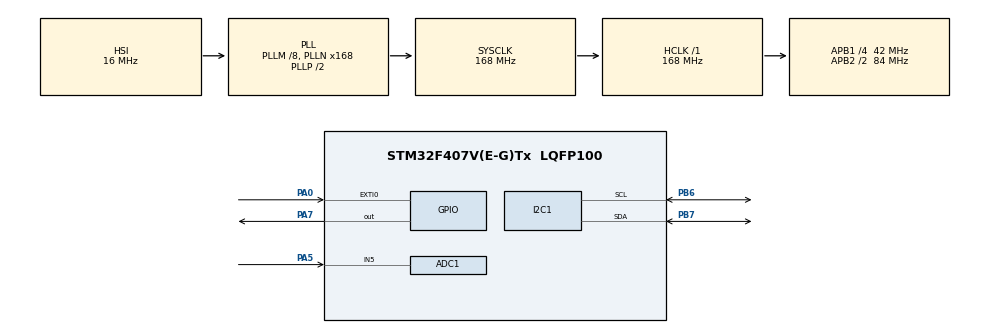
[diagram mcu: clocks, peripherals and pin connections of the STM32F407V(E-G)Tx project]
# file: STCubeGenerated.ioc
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ADC1.Channel-0\#ChannelRegularConversion=ADC_CHANNEL_5
ADC1.DMAContinuousRequests=ENABLE
ADC1.ExternalTrigConv=ADC_EXTERNALTRIGCONV_T3_TRGO
ADC1.NbrOfConversionFlag=1
ADC1.Rank-0\#ChannelRegularConversion=1
ADC1.Resolution=ADC_RESOLUTION_10B
ADC1.SamplingTime-0\#ChannelRegularConversion=ADC_SAMPLETIME_3CYCLES
ADC1.master=1
Dma.ADC1.0.Direction=DMA_PERIPH_TO_MEMORY
Dma.ADC1.0.FIFOMode=DMA_FIFOMODE_DISABLE
Dma.ADC1.0.Instance=DMA2_Stream0
Dma.ADC1.0.MemDataAlignment=DMA_MDATAALIGN_WORD
Dma.ADC1.0.MemInc=DMA_MINC_ENABLE
Dma.ADC1.0.Mode=DMA_NORMAL
Dma.ADC1.0.PeriphDataAlignment=DMA_PDATAALIGN_WORD
Dma.ADC1.0.PeriphInc=DMA_PINC_DISABLE
Dma.ADC1.0.Priority=DMA_PRIORITY_LOW
Dma.Request0=ADC1
Mcu.Family=STM32F4
Mcu.Name=STM32F407V(E-G)Tx
Mcu.Package=LQFP100
NVIC.ADC_IRQn=true\:0\:0\:false\:false\:true\:true\:true
NVIC.DMA2_Stream0_IRQn=true\:0\:0\:false\:false\:true\:false\:true
NVIC.EXTI0_IRQn=true\:0\:0\:false\:false\:true\:true\:true
NVIC.I2C1_EV_IRQn=true\:0\:0\:false\:false\:true\:true\:true
NVIC.PriorityGroup=NVIC_PRIORITYGROUP_4
NVIC.TIM4_IRQn=true\:0\:0\:false\:false\:true\:true\:true
PA0-WKUP.Signal=GPXTI0
PA5.Signal=ADCx_IN5
PA7.Signal=GPIO_Output
PB6.Mode=I2C
PB6.Signal=I2C1_SCL
PB7.Mode=I2C
PB7.Signal=I2C1_SDA
ProjectManager.HeapSize=0x200
ProjectManager.StackSize=0x400
ProjectManager.TargetToolchain=MDK-ARM V5
RCC.48MHZClocksFreq_Value=84000000
RCC.AHBFreq_Value=168000000
RCC.APB1CLKDivider=RCC_HCLK_DIV4
RCC.APB1Freq_Value=42000000
RCC.APB1TimFreq_Value=84000000
RCC.APB2CLKDivider=RCC_HCLK_DIV2
RCC.APB2Freq_Value=84000000
RCC.APB2TimFreq_Value=168000000
RCC.CortexFreq_Value=168000000
RCC.HCLKFreq_Value=168000000
RCC.HSE_VALUE=25000000
RCC.HSI_VALUE=16000000
RCC.LSE_VALUE=32768
RCC.PLLM=8
RCC.PLLN=168
RCC.SYSCLKFreq_VALUE=168000000
RCC.SYSCLKSource=RCC_SYSCLKSOURCE_PLLCLK
RCC.VCOOutputFreq_Value=336000000
SH.ADCx_IN5.0=ADC1_IN5,IN5
TIM3.Period=25
TIM3.Prescaler=999
TIM3.TIM_MasterOutputTrigger=TIM_TRGO_UPDATE
TIM4.Period=20999
TIM4.Prescaler=3
VP_TIM3_VS_ClockSourceINT.Mode=Internal
VP_TIM4_VS_ClockSourceINT.Mode=Internal
board=custom

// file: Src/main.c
/* USER CODE BEGIN Header */
/**
 ******************************************************************************
 * @file           : main.c
 * @brief          : Main program body
 ******************************************************************************
 * @attention
 *
 * <h2><center>&copy; Copyright (c) 2021 STMicroelectronics.
 * All rights reserved.</center></h2>
 *
 * This software component is licensed by ST under BSD 3-Clause license,
 * the "License"; You may not use this file except in compliance with the
 * License. You may obtain a copy of the License at:
 *                        opensource.org/licenses/BSD-3-Clause
 *
 ******************************************************************************
 */
/* USER CODE END Header */
#include "main.h"

/* USER CODE BEGIN Includes */

#include "oled_ssd1306.h"
#include "stdio.h"
#include "string.h"

/* USER CODE END Includes */

ADC_HandleTypeDef hadc1;
DMA_HandleTypeDef hdma_adc1;

I2C_HandleTypeDef hi2c1;

TIM_HandleTypeDef htim3;
TIM_HandleTypeDef htim4;

void        SystemClock_Config(void);
static void MX_GPIO_Init(void);
static void MX_DMA_Init(void);
static void MX_ADC1_Init(void);
static void MX_I2C1_Init(void);
static void MX_TIM3_Init(void);
static void MX_TIM4_Init(void);
/* USER CODE BEGIN PFP */

void writeScreenCenter(uint8_t yPos, char* str, FontDef font);
void updateScreen(void);

/* USER CODE END PFP */

/* USER CODE BEGIN 0 */
#define RESOLUTION_10                  (1024)
#define RESOLUTION_12                  (4096)
#define ONE_MIN_IN_MS                  60000                            // ms
#define REF_VOLTAGE_UV                 3300000                          // uV
#define MIN_STEP_SIZE                  (REF_VOLTAGE_UV / RESOLUTION_12) //** 732.42 uVolt
#define FINGER_DETECTION_THRESHOLD_RAW (RESOLUTION_10 / 2)
#define RESULT_PERIOD                  10
#define HB_MIN_CHANGE                  ()
#define HB_MAX_CHANGE                  ()

#define AMPLIFIER_COEFF                (1) // (4096/RESULT_PERIOD)
#define MAX_VALUE_COEFF                (1)
#define MAX_VALUE_NEW_BASE_COEFF       (0.95)

#define ADC_SAMPLE_NO                  32
uint32_t adc_value[ADC_SAMPLE_NO] = {0};
uint32_t adcValue                 = 0;
uint32_t adcMeanValue             = 0;

uint8_t bpmCounter = 0;

typedef enum
{
    eHeartBeatIdle = 0,
    eHeartBeatFingerNotDetected,
    eHeartBeatNotDetected,
    eHeartBeatDetected,
} eState_t;

typedef enum
{

    eStatePPGIdle = 0,
    eStatePeakDetectedFirst,
    eStateSegment1,
    eStatePeakDetectedSecond,
} ePPGState_t;
ePPGState_t ppgState = eStatePPGIdle;
uint8_t     state    = eHeartBeatNotDetected;

int heartRateBPM = 0;

/* USER CODE END 0 */

int main(void)
{

    /* MCU Configuration--------------------------------------------------------*/

    /* Reset of all peripherals, Initializes the Flash interface and the Systick. */
    HAL_Init();

    /* Configure the system clock */
    SystemClock_Config();

    /* Initialize all configured peripherals */
    MX_GPIO_Init();
    MX_DMA_Init();
    MX_ADC1_Init();
    MX_I2C1_Init();
    MX_TIM3_Init();
    MX_TIM4_Init();
    /* USER CODE BEGIN 2 */

    HAL_TIM_Base_Start_IT(&htim4);
    HAL_TIM_Base_Start(&htim3);
    HAL_ADC_Start_IT(&hadc1);
    HAL_ADC_Start_DMA(&hadc1, adc_value, ADC_SAMPLE_NO);

    ssd1306_Init();
    /* USER CODE END 2 */

    /* Infinite loop */
    while (1)
    {
        HAL_Delay(100);
    }
}

void SystemClock_Config(void)
{
    RCC_OscInitTypeDef RCC_OscInitStruct = {0};
    RCC_ClkInitTypeDef RCC_ClkInitStruct = {0};

    /** Configure the main internal regulator output voltage
     */
    __HAL_RCC_PWR_CLK_ENABLE();
    __HAL_PWR_VOLTAGESCALING_CONFIG(PWR_REGULATOR_VOLTAGE_SCALE1);
    /** Initializes the RCC Oscillators according to the specified parameters
     * in the RCC_OscInitTypeDef structure.
     */
    RCC_OscInitStruct.OscillatorType      = RCC_OSCILLATORTYPE_HSI;
    RCC_OscInitStruct.HSIState            = RCC_HSI_ON;
    RCC_OscInitStruct.HSICalibrationValue = RCC_HSICALIBRATION_DEFAULT;
    RCC_OscInitStruct.PLL.PLLState        = RCC_PLL_ON;
    RCC_OscInitStruct.PLL.PLLSource       = RCC_PLLSOURCE_HSI;
    RCC_OscInitStruct.PLL.PLLM            = 8;
    RCC_OscInitStruct.PLL.PLLN            = 168;
    RCC_OscInitStruct.PLL.PLLP            = RCC_PLLP_DIV2;
    RCC_OscInitStruct.PLL.PLLQ            = 4;
    if (HAL_RCC_OscConfig(&RCC_OscInitStruct) != HAL_OK)
    {
        Error_Handler();
    }
    /** Initializes the CPU, AHB and APB buses clocks
     */
    RCC_ClkInitStruct.ClockType      = RCC_CLOCKTYPE_HCLK | RCC_CLOCKTYPE_SYSCLK | RCC_CLOCKTYPE_PCLK1 | RCC_CLOCKTYPE_PCLK2;
    RCC_ClkInitStruct.SYSCLKSource   = RCC_SYSCLKSOURCE_PLLCLK;
    RCC_ClkInitStruct.AHBCLKDivider  = RCC_SYSCLK_DIV1;
    RCC_ClkInitStruct.APB1CLKDivider = RCC_HCLK_DIV4;
    RCC_ClkInitStruct.APB2CLKDivider = RCC_HCLK_DIV2;

    if (HAL_RCC_ClockConfig(&RCC_ClkInitStruct, FLASH_LATENCY_5) != HAL_OK)
    {
        Error_Handler();
    }
}

static void MX_ADC1_Init(void)
{

    ADC_ChannelConfTypeDef sConfig = {0};

    /** Configure the global features of the ADC (Clock, Resolution, Data Alignment and number of conversion)
     */
    hadc1.Instance                   = ADC1;
    hadc1.Init.ClockPrescaler        = ADC_CLOCK_SYNC_PCLK_DIV4;
    hadc1.Init.Resolution            = ADC_RESOLUTION_10B;
    hadc1.Init.ScanConvMode          = DISABLE;
    hadc1.Init.ContinuousConvMode    = DISABLE;
    hadc1.Init.DiscontinuousConvMode = DISABLE;
    hadc1.Init.ExternalTrigConvEdge  = ADC_EXTERNALTRIGCONVEDGE_RISING;
    hadc1.Init.ExternalTrigConv      = ADC_EXTERNALTRIGCONV_T3_TRGO;
    hadc1.Init.DataAlign             = ADC_DATAALIGN_RIGHT;
    hadc1.Init.NbrOfConversion       = 1;
    hadc1.Init.DMAContinuousRequests = ENABLE;
    hadc1.Init.EOCSelection          = ADC_EOC_SINGLE_CONV;
    if (HAL_ADC_Init(&hadc1) != HAL_OK)
    {
        Error_Handler();
    }
    /** Configure for the selected ADC regular channel its corresponding rank in the sequencer and its sample time.
     */
    sConfig.Channel      = ADC_CHANNEL_5;
    sConfig.Rank         = 1;
    sConfig.SamplingTime = ADC_SAMPLETIME_3CYCLES;
    if (HAL_ADC_ConfigChannel(&hadc1, &sConfig) != HAL_OK)
    {
        Error_Handler();
    }
}

static void MX_I2C1_Init(void)
{

    hi2c1.Instance             = I2C1;
    hi2c1.Init.ClockSpeed      = 100000;
    hi2c1.Init.DutyCycle       = I2C_DUTYCYCLE_2;
    hi2c1.Init.OwnAddress1     = 0;
    hi2c1.Init.AddressingMode  = I2C_ADDRESSINGMODE_7BIT;
    hi2c1.Init.DualAddressMode = I2C_DUALADDRESS_DISABLE;
    hi2c1.Init.OwnAddress2     = 0;
    hi2c1.Init.GeneralCallMode = I2C_GENERALCALL_DISABLE;
    hi2c1.Init.NoStretchMode   = I2C_NOSTRETCH_DISABLE;
    if (HAL_I2C_Init(&hi2c1) != HAL_OK)
    {
        Error_Handler();
    }
}

static void MX_TIM3_Init(void)
{

    TIM_ClockConfigTypeDef  sClockSourceConfig = {0};
    TIM_MasterConfigTypeDef sMasterConfig      = {0};

    htim3.Instance               = TIM3;
    htim3.Init.Prescaler         = 999;
    htim3.Init.CounterMode       = TIM_COUNTERMODE_UP;
    htim3.Init.Period            = 25;
    htim3.Init.ClockDivision     = TIM_CLOCKDIVISION_DIV1;
    htim3.Init.AutoReloadPreload = TIM_AUTORELOAD_PRELOAD_DISABLE;
    if (HAL_TIM_Base_Init(&htim3) != HAL_OK)
    {
        Error_Handler();
    }
    sClockSourceConfig.ClockSource = TIM_CLOCKSOURCE_INTERNAL;
    if (HAL_TIM_ConfigClockSource(&htim3, &sClockSourceConfig) != HAL_OK)
    {
        Error_Handler();
    }
    sMasterConfig.MasterOutputTrigger = TIM_TRGO_UPDATE;
    sMasterConfig.MasterSlaveMode     = TIM_MASTERSLAVEMODE_DISABLE;
    if (HAL_TIMEx_MasterConfigSynchronization(&htim3, &sMasterConfig) != HAL_OK)
    {
        Error_Handler();
    }
}

static void MX_TIM4_Init(void)
{

    TIM_ClockConfigTypeDef  sClockSourceConfig = {0};
    TIM_MasterConfigTypeDef sMasterConfig      = {0};

    htim4.Instance               = TIM4;
    htim4.Init.Prescaler         = 3;
    htim4.Init.CounterMode       = TIM_COUNTERMODE_UP;
    htim4.Init.Period            = 20999;
    htim4.Init.ClockDivision     = TIM_CLOCKDIVISION_DIV1;
    htim4.Init.AutoReloadPreload = TIM_AUTORELOAD_PRELOAD_DISABLE;
    if (HAL_TIM_Base_Init(&htim4) != HAL_OK)
    {
        Error_Handler();
    }
    sClockSourceConfig.ClockSource = TIM_CLOCKSOURCE_INTERNAL;
    if (HAL_TIM_ConfigClockSource(&htim4, &sClockSourceConfig) != HAL_OK)
    {
        Error_Handler();
    }
    sMasterConfig.MasterOutputTrigger = TIM_TRGO_RESET;
    sMasterConfig.MasterSlaveMode     = TIM_MASTERSLAVEMODE_DISABLE;
    if (HAL_TIMEx_MasterConfigSynchronization(&htim4, &sMasterConfig) != HAL_OK)
    {
        Error_Handler();
    }
}

static void MX_DMA_Init(void)
{

    /* DMA controller clock enable */
    __HAL_RCC_DMA2_CLK_ENABLE();

    /* DMA interrupt init */
    /* DMA2_Stream0_IRQn interrupt configuration */
    HAL_NVIC_SetPriority(DMA2_Stream0_IRQn, 0, 0);
    HAL_NVIC_EnableIRQ(DMA2_Stream0_IRQn);
}

static void MX_GPIO_Init(void)
{
    GPIO_InitTypeDef GPIO_InitStruct = {0};

    /* GPIO Ports Clock Enable */
    __HAL_RCC_GPIOA_CLK_ENABLE();
    __HAL_RCC_GPIOB_CLK_ENABLE();

    /*Configure GPIO pin Output Level */
    HAL_GPIO_WritePin(GPIOA, GPIO_PIN_7, GPIO_PIN_RESET);

    /*Configure GPIO pin : PA0 */
    GPIO_InitStruct.Pin  = GPIO_PIN_0;
    GPIO_InitStruct.Mode = GPIO_MODE_IT_RISING;
    GPIO_InitStruct.Pull = GPIO_NOPULL;
    HAL_GPIO_Init(GPIOA, &GPIO_InitStruct);

    /*Configure GPIO pin : PA7 */
    GPIO_InitStruct.Pin   = GPIO_PIN_7;
    GPIO_InitStruct.Mode  = GPIO_MODE_OUTPUT_PP;
    GPIO_InitStruct.Pull  = GPIO_NOPULL;
    GPIO_InitStruct.Speed = GPIO_SPEED_FREQ_LOW;
    HAL_GPIO_Init(GPIOA, &GPIO_InitStruct);

    /* EXTI interrupt init*/
    HAL_NVIC_SetPriority(EXTI0_IRQn, 0, 0);
    HAL_NVIC_EnableIRQ(EXTI0_IRQn);
}

/* USER CODE BEGIN 4 */

uint8_t heartbeatDetected(uint32_t adcRawValue, int delay)
{
    static int     maxValue = 0;
    static uint8_t isPeak   = 0;
    uint8_t        result   = 0;
    // Measuring of the voltage value at the photo transistor
    adcRawValue *= (1000 / delay);
    // If the difference of the current value and the last value is to high
    // ( maybe because you moved the finger away from the sensor)
    // maxValue will be resetted to get a new basic
    if (adcRawValue * 4L < maxValue)
    {
        maxValue = adcRawValue * 0.8;
    } // Detect new peak
    if (adcRawValue > maxValue - (1000 / delay))
    {
        // The peak will be detected here. If the new adcRawValue is bigger than
        // the last maxValue, it will be detected as a peak.
        if (adcRawValue > maxValue)
        {
            maxValue = adcRawValue;
        }
        // Allocate only one heartbeat to a peak.
        if (isPeak == 0)
        {
            result = 1;
        }
        isPeak = 1;
    }
    else if (adcRawValue < maxValue - (3000 / delay))
    {
        isPeak = 0;
        // Here the maxValue will be decreased at each run
        // because if you don't do that the value would be every time lower or the same.
        // Also if you move the finger a bit the signal would be weaker without that.
        maxValue -= (1000 / delay);
    }
    return result;
}

void HAL_ADC_ConvCpltCallback(ADC_HandleTypeDef* hadc)
{
    UNUSED(hadc);
    adcMeanValue = 0;

    static int statePrev = 0;
    for (int i = 0; i < ADC_SAMPLE_NO; i++)
    {
        adcMeanValue += adc_value[i];
    }
    adcMeanValue /= ADC_SAMPLE_NO;

    HAL_ADC_Stop_DMA(&hadc1);
    HAL_ADC_Start_DMA(&hadc1, adc_value, ADC_SAMPLE_NO);

    HAL_GPIO_TogglePin(GPIOA, GPIO_PIN_7);

    if (adcMeanValue > FINGER_DETECTION_THRESHOLD_RAW)
    {
        static uint16_t beatMs = 0;
        if (heartbeatDetected(adcMeanValue, RESULT_PERIOD))
        {
            state        = eHeartBeatDetected;
            heartRateBPM = 60000 / beatMs;
            beatMs       = 0;
						if(heartRateBPM > 45 && heartRateBPM < 180)
						{
							updateScreen();
						}
            statePrev = state;
        }
        else
        {
            state     = eHeartBeatNotDetected;
            statePrev = state;
        }
        beatMs += RESULT_PERIOD;
    }
    else
    {
        state        = eHeartBeatFingerNotDetected;
        heartRateBPM = 0;

        if (state != statePrev)
        {
            updateScreen();
        }

        statePrev = statePrev;
    }
}

void HAL_GPIO_EXTI_Callback(uint16_t GPIO_Pin)
{
    /* Prevent unused argument(s) compilation warning */
    UNUSED(GPIO_Pin);
    ssd1306_Fill(eBlack);
    char    str[30] = {0};
    uint8_t y       = 2;

    writeScreenCenter(y, "HeartBeat <3 Rate", Font_7x10);

    y = 20;
    writeScreenCenter(y, "Monitoring...", Font_7x10);

    y = 35;
    sprintf(str, "%d bpm", bpmCounter);
    writeScreenCenter(y, str, Font_16x26);

    ssd1306_UpdateScreen();
}

void HAL_TIM_PeriodElapsedCallback(TIM_HandleTypeDef* htim)
{
    /* Prevent unused argument(s) compilation warning */
    UNUSED(htim);
    static uint32_t counter    = 0;
    static uint8_t  toggleLeds = 0;

    counter++;
    if (counter % 1000 == 0)
    {
    }

    static int beatMsec = 0;

    if (state == eHeartBeatNotDetected)
    {
    }
    else
    {
    }
}
void updateScreen(void)
{
    if (state == eHeartBeatDetected)
    {
        ssd1306_Fill(eBlack);
        char    str[30] = {0};
        uint8_t y       = 2;

        writeScreenCenter(y, "HeartBeat <3 Rate", Font_7x10);

        y = 20;
        writeScreenCenter(y, "Monitoring...", Font_7x10);

        y = 35;
        sprintf(str, "%d bpm", heartRateBPM);
        writeScreenCenter(y, str, Font_16x26);

        ssd1306_UpdateScreen();
    }
    else if (state == eHeartBeatFingerNotDetected)
    {
        ssd1306_Fill(eBlack);
        char    str[30] = {0};
        uint8_t y       = 2;

        writeScreenCenter(y, "HeartBeat <3 Rate", Font_7x10);

        y = 20;
        writeScreenCenter(y, "Monitoring...", Font_7x10);

        y = 35;
        sprintf(str, "No Finger");
        writeScreenCenter(y, str, Font_11x18);

        ssd1306_UpdateScreen();
    }
}

void writeScreenCenter(uint8_t yPos, char* str, FontDef font)
{
    uint8_t length = strlen(str);
    if (font.FontWidth == Font_16x26.FontWidth)
    {
        uint8_t xPos = (SSD1306_WIDTH - length * 16) / 2;
        ssd1306_SetCursor(xPos, yPos);
        ssd1306_WriteString(str, Font_16x26, eWhite);
    }
    else if (font.FontWidth == Font_7x10.FontWidth)
    {
        uint8_t xPos = (SSD1306_WIDTH - length * 7) / 2;
        ssd1306_SetCursor(xPos, yPos);
        ssd1306_WriteString(str, Font_7x10, eWhite);
    }
    else if (font.FontWidth == Font_11x18.FontWidth)
    {
        uint8_t xPos = (SSD1306_WIDTH - length * 11) / 2;
        ssd1306_SetCursor(xPos, yPos);
        ssd1306_WriteString(str, Font_11x18, eWhite);
    }
    else if (font.FontWidth == Font_6x8.FontWidth)
    {
        uint8_t xPos = (SSD1306_WIDTH - length * 6) / 2;
        ssd1306_SetCursor(xPos, yPos);
        ssd1306_WriteString(str, Font_6x8, eWhite);
    }
}

/* USER CODE END 4 */

void Error_Handler(void)
{
    __disable_irq();
    while (1)
    {
    }
}

/************************ (C) COPYRIGHT STMicroelectronics *****END OF FILE****/
